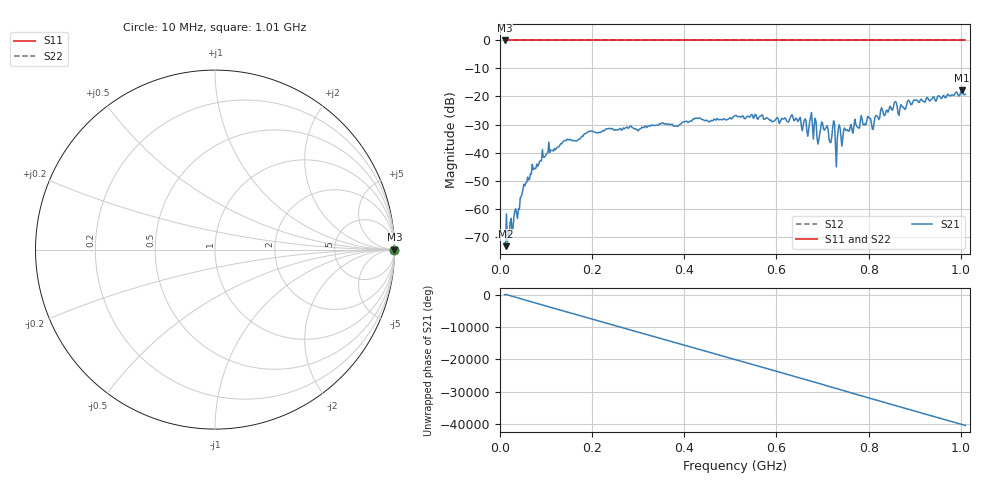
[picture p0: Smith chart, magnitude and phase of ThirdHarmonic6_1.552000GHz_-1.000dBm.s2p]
! 8/16/2025 6:25:39 PM
! C:\ANRITSUVNA\TEMP\TEMP.S2P
! CHANNEL.1
! TR.MEASUREMENT
! RAW.DATA
! RF.CORRECTION.OFF
! AVERAGING.OFF
! IF.BANDWIDTH: 5KHZ
! SWEEPTYPE:  FREQ.SWEEP(Linear)
! Reference Plane Port Info
! PORT:  PORT1  PORT2
! DISTANCE:  0  m  0  m
! TIME:  0  s  0  s
! PHASE.OFFSET:  0  deg.  0  deg.
! LOSS:  0  dB  0  dB
! REF.LOSS:  0  dB  0  dB
! REF.FREQ:  0  Hz  0  Hz
! Power Info
! POWER:  -20  dBm  -20  dBm
! EFF.POWER:  -20  dBm  -20  dBm
! SOURCE.ATTEN:  0  dB  0  dB
! TEST.ATTEN:  0  dB  0  dB
# GHZ S RI R 50.0
! FREQ.GHZ  S11RE  S11IM  S21RE  S21IM  S12RE  S12IM  S22RE  S22IM
!; PortSelection: Port_12
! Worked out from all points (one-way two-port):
!   501 points, 10 MHz to 1.01 GHz, reference 50 ohm
!   highest |S21| = -17.84 dB at 1.002 GHz (marker M1); lowest = -73.4 dB at 12 MHz (marker M2)
!   lowest |S11| = 0.0 dB at 10 MHz (marker M3)
!   |S11| at or under -10 dB: nowhere
!   |S22| runs from 0.0 to 0.0 dB; largest |S21 - S12| = 1.1
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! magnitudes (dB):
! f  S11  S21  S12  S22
! 10 MHz  0.0  -72.4  0.0  0.0
! 12 MHz  0.0  -73.4  0.0  0.0
! 40 MHz  0.0  -60.1  0.0  0.0
! 48 MHz  0.0  -54.6  0.0  0.0
! 70 MHz  0.0  -44.3  0.0  0.0
! 106 MHz  0.0  -36.3  0.0  0.0
! 178 MHz  0.0  -34.1  0.0  0.0
! 344 MHz  0.0  -30.2  0.0  0.0
! 510 MHz  0.0  -26.8  0.0  0.0
! 678 MHz  0.0  -29.9  0.0  0.0
! 692 MHz  0.0  -35.4  0.0  0.0
! 702 MHz  0.0  -31.6  0.0  0.0
! 716 MHz  0.0  -36.4  0.0  0.0
! 724 MHz  0.0  -28.7  0.0  0.0
! 732 MHz  0.0  -35.0  0.0  0.0
! 736 MHz  0.0  -30.1  0.0  0.0
! 744 MHz  0.0  -34.6  0.0  0.0
! 800 MHz  0.0  -27.4  0.0  0.0
! 810 MHz  0.0  -31.7  0.0  0.0
! 844 MHz  0.0  -24.8  0.0  0.0
! 1.002 GHz  0.0  -17.8  0.0  0.0
! 1.01 GHz  0.0  -19.3  0.0  0.0
